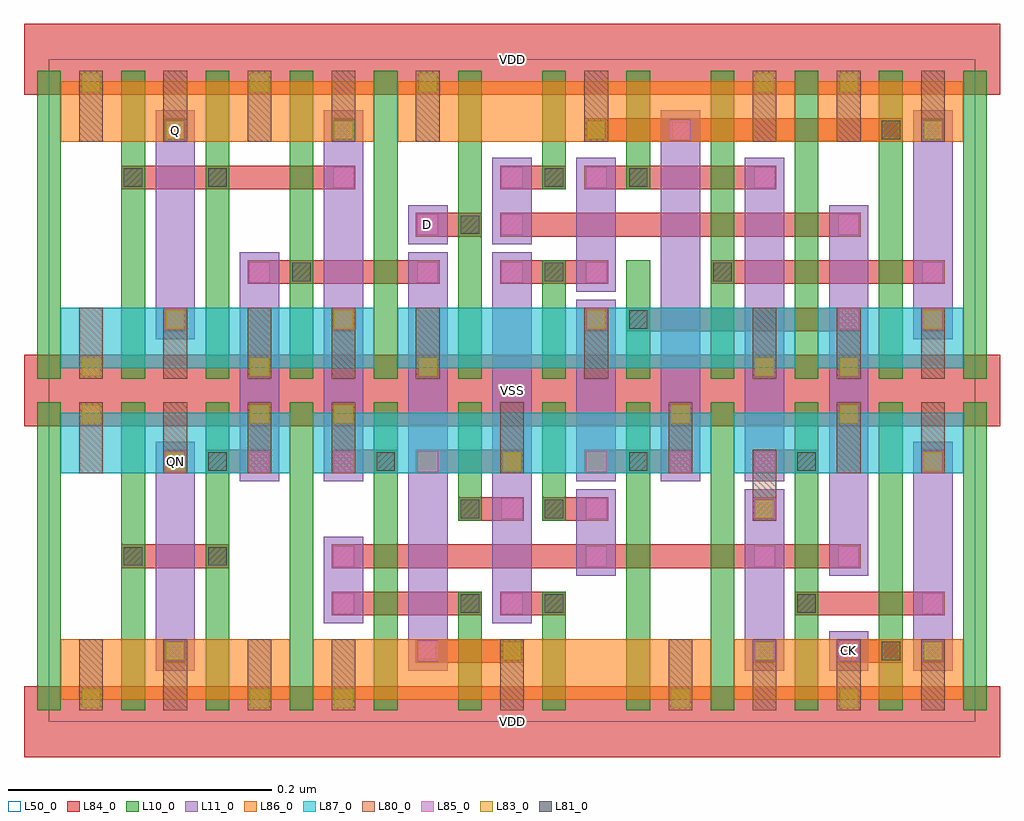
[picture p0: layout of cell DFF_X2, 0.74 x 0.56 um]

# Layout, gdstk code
import gdstk
lib = gdstk.Library(unit=1e-6, precision=1e-09)
def R(c, l, rs):  # rectangles x0, y0, x1, y1
    for r in rs: c.add(gdstk.rectangle(r[:2], r[2:], *l))
def A(c, l, x, y, w, h, nx, ny, dx, dy):  # array of equal rectangles
    R(c, l, [(x+i*dx, y+j*dy, x+i*dx+w, y+j*dy+h) for i in range(nx) for j in range(ny)])
L10_0 = (10, 0)
L11_0 = (11, 0)
L50_0 = (50, 0)
L80_0 = (80, 0)
L81_0 = (81, 0)
L83_0 = (83, 0)
L84_0 = (84, 0)
L85_0 = (85, 0)
L86_0 = (86, 0)
L87_0 = (87, 0)

dff_x2 = lib.new_cell('DFF_X2')
A(dff_x2, L10_0, -0.009, 0.009, 0.018, 0.234, 5, 1, 0.064, 0)
A(dff_x2, L10_0, 0.439, 0.009, 0.018, 0.234, 5, 1, 0.064, 0)
A(dff_x2, L10_0, -0.009, 0.261, 0.018, 0.234, 6, 1, 0.064, 0)
A(dff_x2, L10_0, 0.503, 0.261, 0.018, 0.234, 4, 1, 0.064, 0)
R(dff_x2, L10_0, [(0.311,0.009,0.329,0.099), (0.375,0.009,0.393,0.099), (0.311,0.153,0.329,0.243), (0.375,0.153,0.393,0.243), (0.375,0.261,0.393,0.351), (0.439,0.261,0.457,0.351), (0.375,0.405,0.393,0.495), (0.439,0.405,0.457,0.495)])
R(dff_x2, L11_0, [(0.081,0.039,0.111,0.213), (0.273,0.039,0.303,0.357), (0.529,0.039,0.559,0.177), (0.593,0.039,0.623,0.069), (0.657,0.039,0.687,0.213), (0.209,0.075,0.239,0.141), (0.337,0.075,0.367,0.357), (0.401,0.111,0.431,0.177), (0.593,0.111,0.623,0.393), (0.145,0.183,0.175,0.357), (0.209,0.183,0.239,0.465), (0.401,0.183,0.431,0.321), (0.465,0.183,0.495,0.465), (0.529,0.183,0.559,0.429), (0.081,0.291,0.111,0.465), (0.657,0.291,0.687,0.465), (0.401,0.327,0.431,0.429), (0.273,0.363,0.303,0.393), (0.337,0.363,0.367,0.429)])
R(dff_x2, L50_0, [(0,0,0.704,0.504)])
A(dff_x2, L80_0, 0.023, 0.009, 0.018, 0.054, 4, 2, 0.064, 0.18)
A(dff_x2, L80_0, 0.471, 0.009, 0.018, 0.054, 4, 1, 0.064, 0)
A(dff_x2, L80_0, 0.343, 0.189, 0.018, 0.054, 3, 1, 0.128, 0)
A(dff_x2, L80_0, 0.023, 0.261, 0.018, 0.054, 5, 2, 0.064, 0.18)
A(dff_x2, L80_0, 0.535, 0.261, 0.018, 0.054, 3, 2, 0.064, 0.18)
R(dff_x2, L80_0, [(0.343,0.009,0.361,0.063), (0.535,0.153,0.553,0.207), (0.663,0.189,0.681,0.243), (0.407,0.261,0.425,0.315), (0.407,0.441,0.425,0.495)])
A(dff_x2, L81_0, 0.441, 0.191, 0.014, 0.014, 1, 3, 0, 0.108)
R(dff_x2, L81_0, [(0.633,0.047,0.647,0.061), (0.313,0.083,0.327,0.097), (0.377,0.083,0.391,0.097), (0.569,0.083,0.583,0.097), (0.057,0.119,0.071,0.133), (0.121,0.119,0.135,0.133), (0.313,0.155,0.327,0.169), (0.377,0.155,0.391,0.169), (0.121,0.191,0.135,0.205), (0.249,0.191,0.263,0.205), (0.569,0.191,0.583,0.205), (0.185,0.335,0.199,0.349), (0.377,0.335,0.391,0.349), (0.505,0.335,0.519,0.349), (0.313,0.371,0.327,0.385), (0.057,0.407,0.071,0.421), (0.121,0.407,0.135,0.421), (0.377,0.407,0.391,0.421), (0.633,0.443,0.647,0.457)])
A(dff_x2, L83_0, 0.537, 0.047, 0.014, 0.014, 1, 3, 0, 0.108)
A(dff_x2, L83_0, 0.025, 0.263, 0.014, 0.014, 3, 2, 0.128, 0.216)
R(dff_x2, L83_0, [(0.025,0.011,0.039,0.025), (0.153,0.011,0.167,0.025), (0.217,0.011,0.231,0.025), (0.473,0.011,0.487,0.025), (0.601,0.011,0.615,0.025), (0.089,0.047,0.103,0.061), (0.345,0.047,0.359,0.061), (0.665,0.047,0.679,0.061), (0.089,0.191,0.103,0.205), (0.345,0.191,0.359,0.205), (0.665,0.191,0.679,0.205), (0.025,0.227,0.039,0.241), (0.153,0.227,0.167,0.241), (0.217,0.227,0.231,0.241), (0.473,0.227,0.487,0.241), (0.601,0.227,0.615,0.241), (0.601,0.263,0.615,0.277), (0.089,0.299,0.103,0.313), (0.217,0.299,0.231,0.313), (0.409,0.299,0.423,0.313), (0.665,0.299,0.679,0.313), (0.089,0.443,0.103,0.457), (0.217,0.443,0.231,0.457), (0.409,0.443,0.423,0.457), (0.665,0.443,0.679,0.457), (0.537,0.479,0.551,0.493), (0.601,0.479,0.615,0.493)])
A(dff_x2, L84_0, -0.019, -0.027, 0.742, 0.054, 1, 3, 0, 0.252)
R(dff_x2, L84_0, [(0.087,0.045,0.105,0.063), (0.279,0.045,0.361,0.063), (0.535,0.045,0.553,0.063), (0.599,0.045,0.649,0.063), (0.663,0.045,0.681,0.063), (0.215,0.081,0.329,0.099), (0.343,0.081,0.393,0.099), (0.567,0.081,0.681,0.099), (0.055,0.117,0.137,0.135), (0.215,0.117,0.617,0.135), (0.311,0.153,0.361,0.171), (0.375,0.153,0.425,0.171), (0.535,0.153,0.553,0.171), (0.087,0.189,0.105,0.207), (0.119,0.189,0.169,0.207), (0.215,0.189,0.265,0.207), (0.279,0.189,0.361,0.207), (0.407,0.189,0.489,0.207), (0.535,0.189,0.585,0.207), (0.663,0.189,0.681,0.207), (0.087,0.297,0.105,0.315), (0.215,0.297,0.233,0.315), (0.407,0.297,0.425,0.315), (0.439,0.297,0.617,0.315), (0.663,0.297,0.681,0.315), (0.151,0.333,0.297,0.351), (0.343,0.333,0.425,0.351), (0.503,0.333,0.681,0.351), (0.279,0.369,0.329,0.387), (0.343,0.369,0.617,0.387), (0.055,0.405,0.233,0.423), (0.343,0.405,0.393,0.423), (0.407,0.405,0.553,0.423), (0.087,0.441,0.105,0.459), (0.215,0.441,0.233,0.459), (0.407,0.441,0.649,0.459), (0.663,0.441,0.681,0.459)])
A(dff_x2, L85_0, 0.536, 0.046, 0.016, 0.016, 3, 1, 0.064, 0)
A(dff_x2, L85_0, 0.664, 0.082, 0.016, 0.016, 1, 3, 0, 0.108)
A(dff_x2, L85_0, 0.088, 0.19, 0.016, 0.016, 4, 1, 0.064, 0)
A(dff_x2, L85_0, 0.408, 0.19, 0.016, 0.016, 3, 1, 0.064, 0)
A(dff_x2, L85_0, 0.216, 0.298, 0.016, 0.016, 3, 1, 0.192, 0)
A(dff_x2, L85_0, 0.28, 0.334, 0.016, 0.016, 3, 1, 0.064, 0)
R(dff_x2, L85_0, [(0.088,0.046,0.104,0.062), (0.28,0.046,0.296,0.062), (0.216,0.082,0.232,0.098), (0.344,0.082,0.36,0.098), (0.216,0.118,0.232,0.134), (0.408,0.118,0.424,0.134), (0.536,0.118,0.552,0.134), (0.6,0.118,0.616,0.134), (0.344,0.154,0.36,0.17), (0.408,0.154,0.424,0.17), (0.536,0.154,0.552,0.17), (0.088,0.298,0.104,0.314), (0.152,0.334,0.168,0.35), (0.664,0.334,0.68,0.35), (0.28,0.37,0.296,0.386), (0.344,0.37,0.36,0.386), (0.6,0.37,0.616,0.386), (0.216,0.406,0.232,0.422), (0.344,0.406,0.36,0.422), (0.408,0.406,0.424,0.422), (0.536,0.406,0.552,0.422), (0.088,0.442,0.104,0.458), (0.216,0.442,0.232,0.458), (0.472,0.442,0.488,0.458), (0.664,0.442,0.68,0.458)])
R(dff_x2, L86_0, [(0.009,0.017,0.183,0.063), (0.201,0.017,0.503,0.063), (0.521,0.017,0.695,0.063), (0.009,0.441,0.247,0.487), (0.265,0.441,0.567,0.487), (0.585,0.441,0.695,0.487)])
R(dff_x2, L87_0, [(0.009,0.189,0.183,0.235), (0.201,0.189,0.503,0.235), (0.521,0.189,0.695,0.235), (0.009,0.269,0.247,0.315), (0.265,0.269,0.567,0.315), (0.585,0.269,0.695,0.315)])
dff_x2.add(gdstk.Label('VDD', (0.352,0.504), layer=88, texttype=0))
dff_x2.add(gdstk.Label('VDD', (0.352,0), layer=88, texttype=0))
dff_x2.add(gdstk.Label('VSS', (0.352,0.252), layer=88, texttype=0))
dff_x2.add(gdstk.Label('Q', (0.096,0.45), layer=31, texttype=0))
dff_x2.add(gdstk.Label('QN', (0.096,0.198), layer=31, texttype=0))
dff_x2.add(gdstk.Label('CK', (0.608,0.054), layer=31, texttype=0))
dff_x2.add(gdstk.Label('D', (0.288,0.378), layer=31, texttype=0))

lib.write_gds('DFF_X2.gds')
